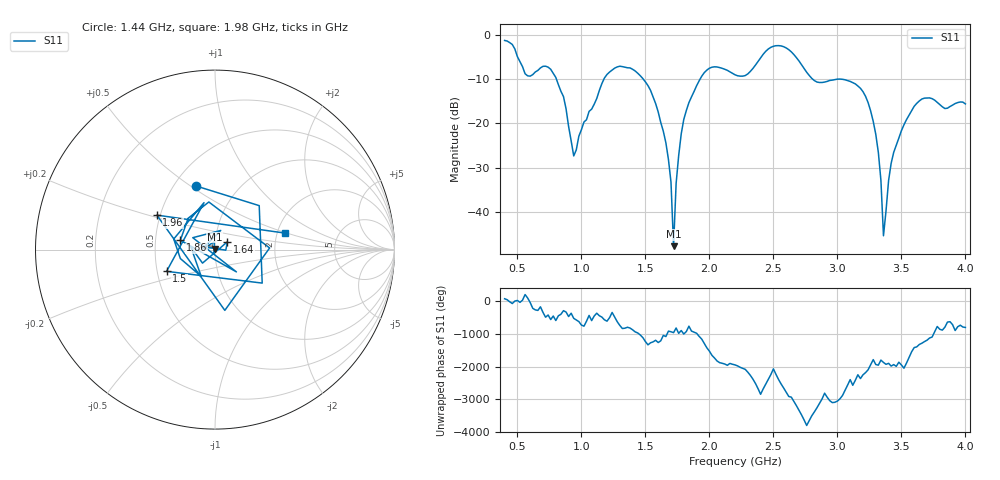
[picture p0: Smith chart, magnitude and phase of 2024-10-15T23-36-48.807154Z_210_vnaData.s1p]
! Created with skrf (http://scikit-rf.org).
# Hz S RI R 50.0
!freq ReS11 ImS11
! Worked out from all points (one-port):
!   181 points, 400 MHz to 4 GHz, reference 50 ohm
!   lowest |S11| = -47.8 dB at 1.72 GHz (marker M1), VSWR 1.01, Z = 49.8 + j0.362 ohm
!   |S11| at or under -10 dB: 805.3 MHz to 1.175 GHz (370 MHz wide, 37.4 % of centre); 1.485 GHz to 1.926 GHz (441.8 MHz wide, 25.9 % of centre); 3.041 GHz to end of sweep (the widest 3 of 4)
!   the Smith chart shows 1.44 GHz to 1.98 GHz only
!   S11 on the Smith chart (normalised r, x): 1.44 GHz: 0.64, +0.53; 1.5 GHz: 0.56, -0.15; 1.64 GHz: 1.14, +0.10; 1.86 GHz: 0.67, +0.07; 1.96 GHz: 0.48, +0.21; 1.98 GHz: 2.21, +0.48
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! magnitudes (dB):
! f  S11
! 400 MHz  -1.2
! 580 MHz  -9.2
! 760 MHz  -7.7
! 860 MHz  -13.9
! 940 MHz  -27.4
! 1.18 GHz  -9.7
! 1.3 GHz  -7.0
! 1.44 GHz  -8.6
! 1.5 GHz  -10.6
! 1.64 GHz  -21.8
! 1.7 GHz  -33.3
! 1.72 GHz  -47.8
! 1.74 GHz  -33.6
! 1.76 GHz  -27.3
! 1.86 GHz  -14.0
! 1.96 GHz  -8.5
! 1.98 GHz  -7.9
! 2.2 GHz  -9.0
! 2.5 GHz  -2.5
! 2.66 GHz  -4.4
! 2.84 GHz  -10.6
! 3.1 GHz  -10.5
! 3.28 GHz  -19.5
! 3.34 GHz  -32.9
! 3.36 GHz  -45.5
! 3.42 GHz  -29.0
! 3.56 GHz  -18.1
! 4 GHz  -15.6
